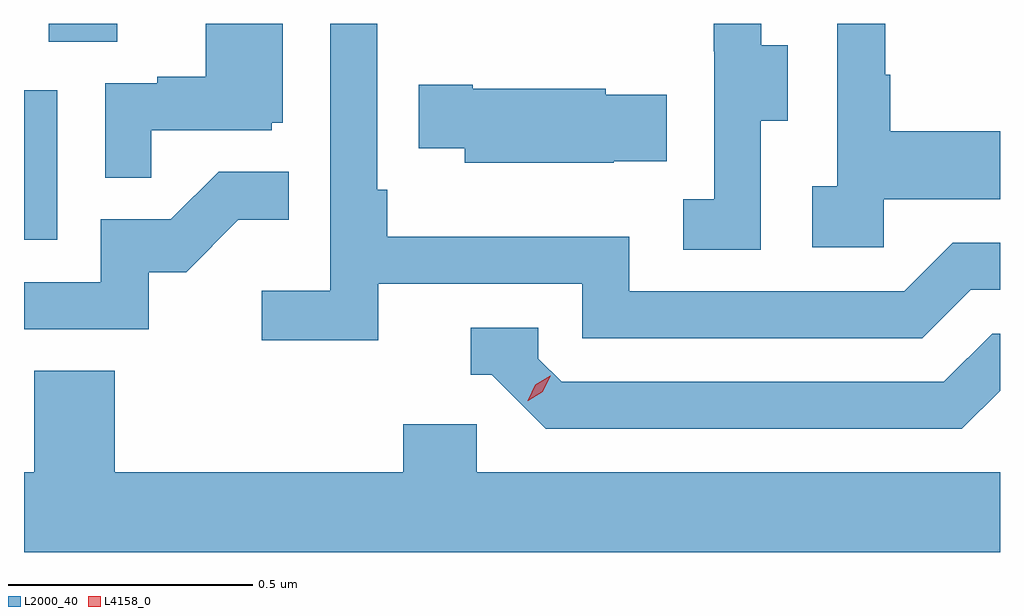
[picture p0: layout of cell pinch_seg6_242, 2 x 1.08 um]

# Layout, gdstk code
import gdstk
lib = gdstk.Library(unit=1e-6, precision=1e-09)
def R(c, l, rs):  # rectangles x0, y0, x1, y1
    for r in rs: c.add(gdstk.rectangle(r[:2], r[2:], *l))
def P(c, l, *ps):  # polygons
    for p in ps: c.add(gdstk.Polygon(p, *l))
L2000_40 = (2000, 40)
L4158_0 = (4158, 0)

pinch_seg6_242 = lib.new_cell('pinch_seg6_242')
R(pinch_seg6_242, L2000_40, [(1089.602,925.332,1089.67,925.639), (1089.653,925.738,1089.793,925.775)])
P(pinch_seg6_242, L2000_40, [(1091.364,925.415),(1091.602,925.415),(1091.602,925.555),(1091.377,925.555),(1091.377,925.67),(1091.367,925.67),(1091.367,925.775),(1091.268,925.775),(1091.268,925.442),(1091.217,925.442),(1091.217,925.317),(1091.364,925.317)],
  [(1091.112,925.576),(1091.167,925.576),(1091.167,925.731),(1091.113,925.731),(1091.113,925.775),(1091.015,925.775),(1091.015,925.719),(1091.016,925.719),(1091.016,925.415),(1090.953,925.415),(1090.953,925.312),(1091.112,925.312)],
  [(1089.863,925.557),(1090.11,925.557),(1090.11,925.572),(1090.132,925.572),(1090.132,925.775),(1089.974,925.775),(1089.974,925.666),(1089.875,925.666),(1089.875,925.653),(1089.768,925.653),(1089.768,925.459),(1089.863,925.459)],
  [(1090.328,925.242),(1090.746,925.242),(1090.746,925.131),(1091.443,925.131),(1091.542,925.23),(1091.602,925.23),(1091.602,925.326),(1091.505,925.326),(1091.406,925.227),(1090.842,925.227),(1090.842,925.339),(1090.346,925.339),(1090.346,925.435),(1090.326,925.435),(1090.326,925.775),(1090.23,925.775),(1090.23,925.228),(1090.089,925.228),(1090.089,925.126),(1090.328,925.126)],
  [(1090.811,925.493),(1090.919,925.493),(1090.919,925.63),(1090.794,925.63),(1090.794,925.642),(1090.522,925.642),(1090.522,925.65),(1090.411,925.65),(1090.411,925.52),(1090.505,925.52),(1090.505,925.49),(1090.811,925.49)],
  [(1089.858,925.266),(1089.934,925.266),(1090.041,925.373),(1090.145,925.373),(1090.145,925.472),(1090.001,925.472),(1089.903,925.374),(1089.759,925.374),(1089.759,925.245),(1089.602,925.245),(1089.602,925.149),(1089.858,925.149)],
  [(1091.602,925.023),(1091.602,925.14),(1091.586,925.14),(1091.487,925.041),(1090.704,925.041),(1090.656,925.089),(1090.656,925.152),(1090.517,925.152),(1090.517,925.056),(1090.56,925.056),(1090.671,924.945),(1091.524,924.945)],
  [(1091.602,924.856),(1090.53,924.856),(1090.53,924.954),(1090.379,924.954),(1090.379,924.856),(1089.788,924.856),(1089.788,925.064),(1089.623,925.064),(1089.623,924.856),(1089.602,924.856),(1089.602,924.692),(1091.602,924.692)])
P(pinch_seg6_242, L4158_0, [(1090.634,925.002),(1090.634,925.002),(1090.65,925.035),(1090.68,925.054),(1090.681,925.054),(1090.681,925.054),(1090.665,925.021),(1090.635,925.002)])

lib.write_gds('pinch_seg6_242.gds')
